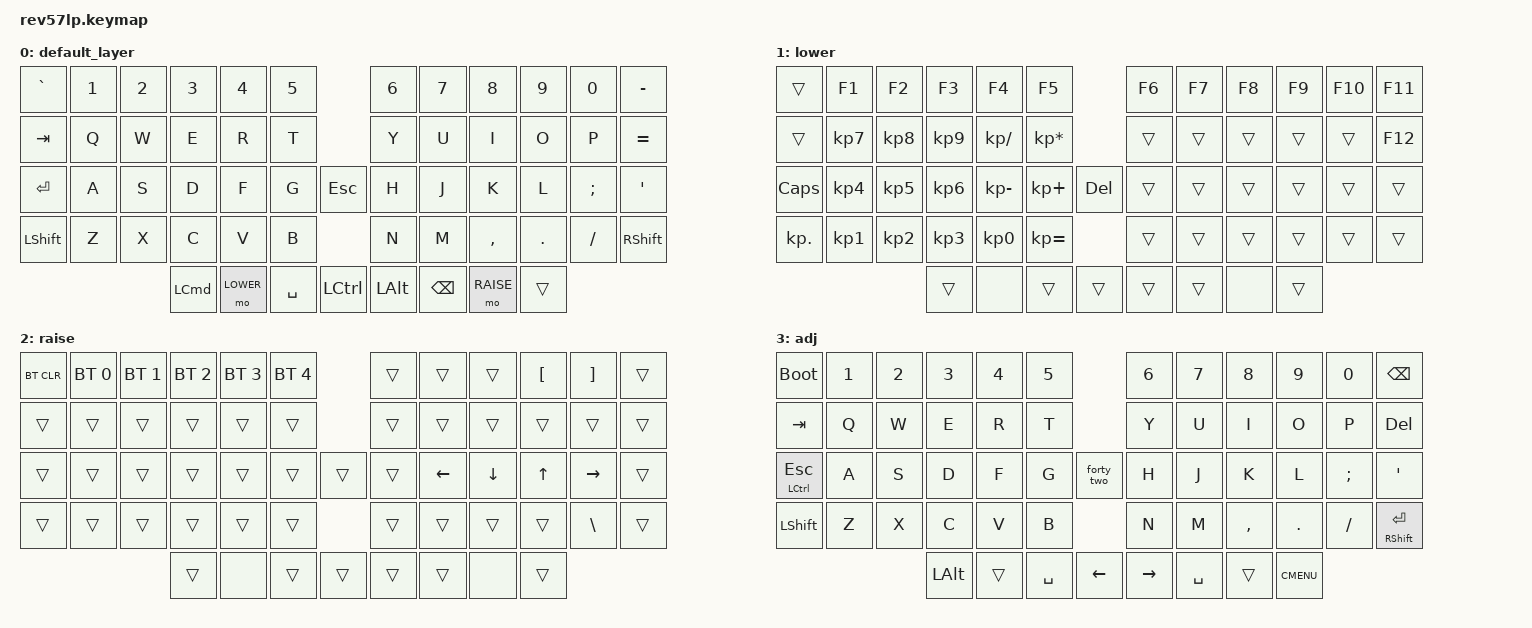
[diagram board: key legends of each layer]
/*
 * Copyright (c) 2022 The ZMK Contributors
 *
 * SPDX-License-Identifier: MIT
 */

#include <behaviors.dtsi>
#include <dt-bindings/zmk/keys.h>
#include <dt-bindings/zmk/bt.h>

#define DEFAULT 0
#define LOWER   1
#define RAISE   2

/ {
    conditional_layers {
        compatible = "zmk,conditional-layers";
        tri_layer {
            if-layers = <1 2>;
            then-layer = <3>;
        };
    };

    macros {
        forty_two: forty_two {
            label = "ZM_forty_two";
            compatible = "zmk,behavior-macro";
            #binding-cells = <0>;
            bindings
                = <&macro_press &kp N4>
                , <&macro_press &kp N2>
                ;
        };
    };

    keymap {
        compatible = "zmk,keymap";
        default_layer {
            //  -------------------------------------------------------------------------------------------------
            // |  GRAV |  1   |  2   |  3   |  4    |  5    |               |  6    |  7     |  8   |  9    |   0   | MINUS |
            // |  TAB  |  Q   |  W   |  E   |  R    |  T    |               |  Y    |  U     |  I   |  O    |   P   | EQUAL |
            // | RETURN|  A   |  S   |  D   |  F    |  G    |      ESC      |  H    |  J     |  K   |  L    |   ;   |  '    |
            // | SHIFT |  Z   |  X   |  C   |  V    |  B    |               |  N    |  M     |  ,   |  .    |   /   | SHIFT |
            //                       | LCMD | LOWER | SPACE | ctrl  | optn  |  BCSP | RAISE  |  IDK |
            bindings = <
                &kp GRAVE    &kp N1     &kp N2    &kp N3    &kp N4     &kp N5                           &kp N6     &kp N7     &kp N8     &kp N9    &kp N0     &kp MINUS
                &kp TAB      &kp Q      &kp W     &kp E     &kp R      &kp T                            &kp Y      &kp U      &kp I      &kp O     &kp P      &kp EQUAL
                &kp RET      &kp A      &kp S     &kp D     &kp F      &kp G            &kp ESC         &kp H      &kp J      &kp K      &kp L     &kp SEMI   &kp SQT
                &kp LSHIFT   &kp Z      &kp X     &kp C     &kp V      &kp B                            &kp N      &kp M      &kp COMMA  &kp DOT   &kp SLASH  &kp RSHIFT
                                                  &kp LCMD  &mo LOWER  &kp SPACE  &kp LCTRL   &kp LALT  &kp BSPC   &mo RAISE  &trans
                >;
        };
        lower {
            // ------------------------------------------------------------------------------------------
            // |       |  F1  |  F2  |  F3  | F4    |  F5   |               |   F6  |  F7    |  F8  |  F9   |   F10 | F11   |
            // |       |  7   |  8   |  9   |  /    |  *    |               |       |        |      |       |       | F12   |
            // | CAPS  |  4   |  5   |  6   |  -    |  +    |       DEL     |       |        |      |       |       |       |
            // |  .    |  1   |  2   |  3   |  0    |       |               |       |        |      |       |       |       |
            //                       |      |       |       |       |       |       |        |      |
            bindings = <
                &trans        &kp F1        &kp F2       &kp F3         &kp F4            &kp F5                                    &kp F6      &kp F7     &kp F8     &kp F9      &kp F10     &kp F11
                &trans        &kp KP_N7     &kp KP_N8    &kp KP_N9      &kp KP_SLASH      &kp KP_ASTERISK                           &trans      &trans     &trans     &trans      &trans      &kp F12
                &kp CAPS      &kp KP_N4     &kp KP_N5    &kp KP_N6      &kp KP_MINUS      &kp KP_PLUS             &kp DEL           &trans      &trans     &trans     &trans      &trans      &trans
                &kp KP_DOT    &kp KP_N1     &kp KP_N2    &kp KP_N3      &kp KP_N0         &kp KP_EQUAL                              &trans      &trans     &trans     &trans      &trans      &trans
                                                         &trans         &none             &trans             &trans    &trans       &trans      &none      &trans
                >;
        };
        raise {
            // | bt clear  |  bt1 | bt2  | bt3  | bt4   | bt5   |               |       |        |      |   [   |   ]   |       |
            // |           |      |      |      |       |       |               |       |        |      |       |       |       |
            // |           |      |      |      |       |       |               |       |  LEFT  | DOWN |  UP   | RIGHT |       |
            // |           |      |      |      |       |       |               |       |        |      |       |   \   |       |
            //                       |      |       |       |       |       |       |        |      |
            bindings = <
                &bt BT_CLR   &bt BT_SEL 0  &bt BT_SEL 1  &bt BT_SEL 2 &bt BT_SEL 3 &bt BT_SEL 4                     &trans   &trans    &trans    &kp LBKT &kp RBKT  &trans
                &trans       &trans        &trans        &trans       &trans       &trans                           &trans   &trans    &trans    &trans   &trans    &trans
                &trans       &trans        &trans        &trans       &trans       &trans           &trans          &trans   &kp LEFT  &kp DOWN  &kp UP   &kp RIGHT &trans
                &trans       &trans        &trans        &trans       &trans       &trans                           &trans   &trans    &trans    &trans   &kp BSLH  &trans
                                             &trans   &none    &trans      &trans    &trans     &trans   &none     &trans
                >;
        };
        adj {
            //  -------------------------------------------------------------------------------------------------
            // |  GRAV |  1   |  2   |  3   |  4    |  5     |   6     |  7     |  8   |  9    |   0   | BSPC   |
            // |  TAB  |  Q   |  W   |  E   |  R    |  T     |   Y     |  U     |  I   |  O    |   P   | DEL    |
            // |  ESC  |  A   |  S   |  D   |  F    |  G     |   H     |  J     |  K   |  L    |   ;   |  '     |
            // | SHIFT |  Z   |  X   |  C   |  V    |  B     |   N     |  M     |  ,   |  .    |   /   | RET    |
            // |       | LGUI | LALT | LCTL | LOWER | SPACE  |  SPACE  |  RAISE | LEFT |  DOWN |   UP  | RIGHT  |
            bindings = <
                &bootloader  &kp N1     &kp N2    &kp N3    &kp N4     &kp N5                           &kp N6     &kp N7     &kp N8     &kp N9    &kp N0     &kp BSPC
                &kp TAB      &kp Q      &kp W     &kp E     &kp R      &kp T                            &kp Y      &kp U      &kp I      &kp O     &kp P      &kp DEL
                &mt LCTL ESC &kp A      &kp S     &kp D     &kp F      &kp G          &forty_two        &kp H      &kp J      &kp K      &kp L     &kp SEMI   &kp SQT
                &kp LSHIFT   &kp Z      &kp X     &kp C     &kp V      &kp B                            &kp N      &kp M      &kp COMMA  &kp DOT   &kp SLASH  &mt RSHIFT RET
                                                  &kp LALT  &trans     &kp SPACE  &kp LEFT   &kp RIGHT  &kp SPACE  &trans     &kp K_CMENU
                >;
        };
    };
};
